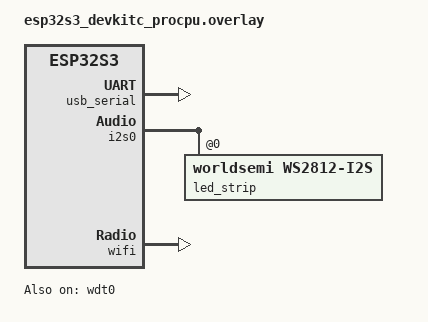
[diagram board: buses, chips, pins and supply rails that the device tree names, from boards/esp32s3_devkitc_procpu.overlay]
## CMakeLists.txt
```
# SPDX-License-Identifier: Apache-2.0

cmake_minimum_required(VERSION 3.20.0)

# Register common/labid module
list(APPEND EXTRA_ZEPHYR_MODULES "${CMAKE_CURRENT_SOURCE_DIR}/../../common/labid")

find_package(Zephyr REQUIRED HINTS $ENV{ZEPHYR_BASE})
project(bootlab_zephyr_app)

target_sources(app PRIVATE
    src/main.c
    src/app_blink_timing.c
    src/labid_port_zephyr.c
    src/app_self_test.c
    src/app_ble_smp.c
    src/app_wifi.c
)

if(EXISTS "${CMAKE_CURRENT_SOURCE_DIR}/../../credentials.env")
  file(STRINGS "${CMAKE_CURRENT_SOURCE_DIR}/../../credentials.env" CRED_LINES)
  foreach(line ${CRED_LINES})
    if(line MATCHES "^WIFI_SSID=\"?([^\"]+)\"?")
      set(ENV_WIFI_SSID "${CMAKE_MATCH_1}")
    elseif(line MATCHES "^WIFI_PSK=\"?([^\"]+)\"?")
      set(ENV_WIFI_PSK "${CMAKE_MATCH_1}")
    endif()
  endforeach()
  if(ENV_WIFI_SSID)
    target_compile_definitions(app PRIVATE
      APP_WIFI_SSID="${ENV_WIFI_SSID}"
      APP_WIFI_PSK="${ENV_WIFI_PSK}"
    )
  endif()
endif()
```

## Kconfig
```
# SPDX-License-Identifier: Apache-2.0

mainmenu "bootlab-esp Zephyr Application"

choice APP_VARIANT
	prompt "Application Variant"
	default APP_VARIANT_V1

config APP_VARIANT_V1
	bool "v1 (Factory, 1 Hz, confirms)"

config APP_VARIANT_V2
	bool "v2 (Upgrade, 4 Hz, confirms)"

config APP_VARIANT_NO_CONFIRM
	bool "no_confirm (1 Hz, never confirms)"

config APP_VARIANT_HANG
	bool "hang (stuck red, watchdog reset)"

config APP_VARIANT_BAD_SIG
	bool "bad_sig (signed with foreign key)"

endchoice

source "Kconfig.zephyr"
```

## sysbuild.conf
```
# SPDX-License-Identifier: Apache-2.0

# Sysbuild configuration for bootlab-esp Zephyr target
SB_CONFIG_BOOTLOADER_MCUBOOT=y
SB_CONFIG_MCUBOOT_MODE_SWAP_USING_MOVE=y

# ECDSA-P256 signature verification in MCUboot (software verification, 0 eFuses burned)
SB_CONFIG_BOOT_SIGNATURE_TYPE_ECDSA_P256=y
SB_CONFIG_BOOT_SIGNATURE_KEY_FILE="/home/msoubhi/bootlab-esp/keys/zephyr_p256.pem"
```

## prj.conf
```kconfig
# SPDX-License-Identifier: Apache-2.0

CONFIG_LOG=y
CONFIG_LOG_DEFAULT_LEVEL=3
CONFIG_BOOTLOADER_MCUBOOT=y

# Flash and Image Manager for MCUboot slot confirmation
CONFIG_FLASH=y
CONFIG_FLASH_MAP=y
CONFIG_STREAM_FLASH=y
CONFIG_IMG_MANAGER=y
CONFIG_MCUBOOT_IMG_MANAGER=y

# Console via USB-Serial/JTAG (Shell disabled)
CONFIG_SERIAL=y
CONFIG_UART_CONSOLE=y
CONFIG_UART_LINE_CTRL=y
CONFIG_UART_INTERRUPT_DRIVEN=y
CONFIG_SHELL=n

# LABID Protocol & Hardware Info
CONFIG_LABID=y
CONFIG_HWINFO=y
CONFIG_HWINFO_ESP32=y
CONFIG_RING_BUFFER=y

# LED Strip driver (WS2812 over I2S)
CONFIG_LED_STRIP=y
CONFIG_WS2812_STRIP_I2S=y

# Watchdog
CONFIG_WATCHDOG=y
CONFIG_WDT_ESP32=y
CONFIG_WDT_LOG_LEVEL_INF=y

# Bluetooth LE & MCUmgr SMP Transport
CONFIG_BT=y
CONFIG_BT_PERIPHERAL=y
CONFIG_BT_DEVICE_NAME="lab-esp-zephyr"

# Bluetooth MTU and Buffers
CONFIG_BT_L2CAP_TX_MTU=498
CONFIG_BT_BUF_ACL_RX_SIZE=502
CONFIG_BT_BUF_ACL_TX_SIZE=502

# MCUmgr core and transport
CONFIG_NET_BUF=y
CONFIG_ZCBOR=y
CONFIG_CRC=y
CONFIG_MCUMGR=y
CONFIG_MCUMGR_TRANSPORT_BT=y
CONFIG_MCUMGR_TRANSPORT_BT_CONN_PARAM_CONTROL=y
CONFIG_MCUMGR_TRANSPORT_BT_REASSEMBLY=y
CONFIG_MCUMGR_TRANSPORT_NETBUF_SIZE=2475
CONFIG_MCUMGR_TRANSPORT_WORKQUEUE_STACK_SIZE=4608

# MCUmgr Groups: OS and Image Management
CONFIG_MCUMGR_GRP_OS=y
CONFIG_MCUMGR_GRP_OS_MCUMGR_PARAMS=y
CONFIG_MCUMGR_GRP_IMG=y

# Stack sizes for Bluetooth and MCUmgr handlers
CONFIG_SYSTEM_WORKQUEUE_STACK_SIZE=4096
CONFIG_MAIN_STACK_SIZE=4096

# Networking & WiFi
CONFIG_NETWORKING=y
CONFIG_NET_L2_ETHERNET=y
CONFIG_NET_L2_WIFI_MGMT=y
CONFIG_WIFI=y
CONFIG_WIFI_ESP32=y
CONFIG_NET_IPV4=y
CONFIG_NET_UDP=y
CONFIG_NET_SOCKETS=y
CONFIG_NET_DHCPV4=y
CONFIG_NET_MGMT=y
CONFIG_NET_MGMT_EVENT=y
CONFIG_NET_CONNECTION_MANAGER=y
CONFIG_WIFI_LOG_LEVEL_INF=y

# Network buffer sizing
CONFIG_NET_PKT_RX_COUNT=16
CONFIG_NET_PKT_TX_COUNT=16
CONFIG_NET_BUF_RX_COUNT=64
CONFIG_NET_BUF_TX_COUNT=64
CONFIG_NET_MAX_CONTEXTS=10

# WiFi heap sizing (use kernel mempool heap)
CONFIG_ESP_WIFI_HEAP_SYSTEM=y

# MCUmgr UDP SMP Transport (port 1337 per BL-035)
CONFIG_MCUMGR_TRANSPORT_UDP=y
CONFIG_MCUMGR_TRANSPORT_UDP_PORT=1337
CONFIG_MCUMGR_TRANSPORT_UDP_IPV4=y
CONFIG_MCUMGR_TRANSPORT_UDP_AUTOMATIC_INIT=y
CONFIG_MCUMGR_TRANSPORT_UDP_STACK_SIZE=4096
```

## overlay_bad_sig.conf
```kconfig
CONFIG_APP_VARIANT_BAD_SIG=y
```

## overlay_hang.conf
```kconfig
CONFIG_APP_VARIANT_HANG=y
```

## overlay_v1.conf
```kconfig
CONFIG_APP_VARIANT_V1=y
```

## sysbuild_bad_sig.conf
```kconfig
SB_CONFIG_BOOT_SIGNATURE_KEY_FILE="/home/msoubhi/bootlab-esp/keys/zephyr_foreign.pem"
```

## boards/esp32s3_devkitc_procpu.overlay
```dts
/* SPDX-License-Identifier: Apache-2.0 */

#include <zephyr/dt-bindings/led/led.h>

/ {
	chosen {
		zephyr,console = &usb_serial;
		zephyr,shell-uart = &usb_serial;
	};

	aliases {
		led-strip = &led_strip;
		watchdog0 = &wdt0;
	};
};

&usb_serial {
	status = "okay";
};

&i2s0_default {
	group1 {
		pinmux = <I2S0_O_SD_GPIO48>;
	};
};

i2s_led: &i2s0 {
	status = "okay";

	dmas = <&dma 3>;
	dma-names = "tx";

	led_strip: ws2812@0 {
		compatible = "worldsemi,ws2812-i2s";

		reg = <0>;
		chain-length = <1>;
		color-mapping = <LED_COLOR_ID_GREEN
				 LED_COLOR_ID_RED
				 LED_COLOR_ID_BLUE>;
		reset-delay = <500>;
	};
};

&dma {
	status = "okay";
};

&wdt0 {
	status = "okay";
};

&wifi {
	status = "okay";
};
```

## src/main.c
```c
/*
 * SPDX-License-Identifier: Apache-2.0
 *
 * main.c — Zephyr blink app + toggles + 5 variants + watchdog (BL-031).
 */

#include <zephyr/kernel.h>
#include <zephyr/sys/printk.h>
#include <zephyr/logging/log.h>
#include <zephyr/dfu/mcuboot.h>
#include <zephyr/drivers/led_strip.h>
#include <zephyr/drivers/watchdog.h>
#include <zephyr/sys/atomic.h>
#include "app_blink_timing.h"
#include "app_self_test.h"
#include "labid_port_zephyr.h"
#include "app_ble_smp.h"
#include "app_wifi.h"

LOG_MODULE_REGISTER(bootlab_app, LOG_LEVEL_INF);

#define STRIP_NODE DT_ALIAS(led_strip)
static const struct device *const strip = DEVICE_DT_GET(STRIP_NODE);

#define WDT_NODE DT_ALIAS(watchdog0)
static const struct device *const wdt = DEVICE_DT_GET(WDT_NODE);
static int wdt_channel_id = -1;

static atomic_t s_toggle_count = ATOMIC_INIT(0);
static struct app_self_test s_self_test;

const char *app_variant_str(void)
{
#if defined(CONFIG_APP_VARIANT_V1)
    return "v1";
#elif defined(CONFIG_APP_VARIANT_V2)
    return "v2";
#elif defined(CONFIG_APP_VARIANT_NO_CONFIRM)
    return "no_confirm";
#elif defined(CONFIG_APP_VARIANT_HANG)
    return "hang";
#elif defined(CONFIG_APP_VARIANT_BAD_SIG)
    return "bad_sig";
#else
    return "v1";
#endif
}

const char *app_get_variant_str(void)
{
    return app_variant_str();
}

app_variant_t app_variant_id(void)
{
#if defined(CONFIG_APP_VARIANT_V1)
    return APP_VARIANT_V1;
#elif defined(CONFIG_APP_VARIANT_V2)
    return APP_VARIANT_V2;
#elif defined(CONFIG_APP_VARIANT_NO_CONFIRM)
    return APP_VARIANT_NO_CONFIRM;
#elif defined(CONFIG_APP_VARIANT_HANG)
    return APP_VARIANT_HANG;
#else
    return APP_VARIANT_BAD_SIG;
#endif
}

uint32_t app_get_toggle_count(void)
{
    return (uint32_t)atomic_get(&s_toggle_count);
}

bool app_is_confirmed(void)
{
    return app_self_test_is_confirmed(&s_self_test);
}

static void set_led(uint8_t r, uint8_t g, uint8_t b)
{
    if (!device_is_ready(strip)) {
        return;
    }
    struct led_rgb pixel = { .r = r, .g = g, .b = b };
    (void)led_strip_update_rgb(strip, &pixel, 1);
}

static void clear_led(void)
{
    set_led(0, 0, 0);
}

static int init_watchdog(void)
{
    if (!device_is_ready(wdt)) {
        LOG_WRN("Watchdog device %s not ready", wdt ? wdt->name : "NULL");
        return -ENODEV;
    }
    struct wdt_timeout_cfg wdt_config = {
        .flags = WDT_FLAG_RESET_SOC,
        .window.min = 0U,
        .window.max = 5000U, /* 5000 ms (< 10s per BL-031 AC3) */
        .callback = NULL,
    };
    wdt_channel_id = wdt_install_timeout(wdt, &wdt_config);
    if (wdt_channel_id < 0) {
        LOG_ERR("Watchdog install error: %d", wdt_channel_id);
        return wdt_channel_id;
    }
    int err = wdt_setup(wdt, 0);
    if (err < 0) {
        LOG_ERR("Watchdog setup error: %d", err);
        return err;
    }
    LOG_INF("Hardware Watchdog armed (timeout: 5000 ms)");
    return 0;
}

static void feed_watchdog(void)
{
    if (wdt_channel_id >= 0 && device_is_ready(wdt)) {
        wdt_feed(wdt, wdt_channel_id);
    }
}

int main(void)
{
    k_msleep(100);

    printk("\n========================================\n");
    printk("  bootlab-esp: Zephyr BL-031 Blink App  \n");
    printk("  Board:   %s\n", CONFIG_BOARD);
    printk("  Variant: %s\n", app_variant_str());
    printk("========================================\n");

    if (device_is_ready(strip)) {
        LOG_INF("WS2812 LED strip ready on GPIO48");
    } else {
        LOG_WRN("WS2812 LED strip not ready");
    }

    bool can_confirm = (app_variant_id() != APP_VARIANT_NO_CONFIRM && app_variant_id() != APP_VARIANT_HANG);
    app_self_test_init(&s_self_test, can_confirm, boot_write_img_confirmed);
    LOG_INF("[APP] Self-test state machine initialized (can_confirm=%d, target_uptime=%u ms, target_toggles=%u)",
            (int)can_confirm, APP_SELF_TEST_MIN_UPTIME_MS, APP_SELF_TEST_MIN_TOGGLES);

    int wdt_rc = init_watchdog();
    if (wdt_rc != 0) {
        LOG_WRN("Proceeding without hardware watchdog (%d)", wdt_rc);
    }

    struct labid_app_info info = {
        .variant = app_variant_str(),
        .version = (app_variant_id() == APP_VARIANT_V2) ? "2.0.0" : "1.0.0",
        .blink_hz = (app_variant_id() == APP_VARIANT_V2) ? "4" : "1",
        .get_toggle_count = app_get_toggle_count,
        .is_confirmed = app_is_confirmed,
    };
    int labid_rc = labid_port_init(&info);
    if (labid_rc != 0) {
        LOG_WRN("Failed to initialize LABID port: %d", labid_rc);
    }

    int ble_rc = app_ble_smp_init();
    if (ble_rc != 0) {
        LOG_WRN("Failed to initialize BLE SMP: %d", ble_rc);
    }

    int wifi_rc = app_wifi_init();
    if (wifi_rc != 0) {
        LOG_WRN("Failed to initialize WiFi: %d", wifi_rc);
    }

#if defined(CONFIG_APP_VARIANT_HANG)
    LOG_WRN("[APP] HANG variant active — showing solid red, blocking to trigger watchdog reset...");
    app_rgb_t stuck = app_blink_color(APP_VARIANT_HANG, 0);
    set_led(stuck.r, stuck.g, stuck.b);
    for (;;) {
        /* Busy wait without feeding watchdog. Watchdog will panic and reset within 5s. */
        k_busy_wait(100000);
    }
#endif

    uint32_t half_period = app_blink_half_period_ms(
#if defined(CONFIG_APP_VARIANT_V2)
        1
#else
        0
#endif
    );

    LOG_INF("Blink loop starting (half-period: %u ms)", half_period);

    bool led_on = false;
    uint32_t log_tick = 0;
    int64_t last_led_hw_update = 0;

    for (;;) {
        led_on = !led_on;

        /* BL-064: rate-limit the actual LED strip hardware update independently of the logical
         * toggle rate. Zephyr's ws2812_i2s driver's DMA buffer pool (2 blocks, not exposed via
         * devicetree) exhausts under sustained call rates, and that exhaustion state was found to
         * also kill the LABID console's UART RX interrupt (see
         * scripts/evidence/bl064_zephyr_labid_rx_irq_dead.md). A 500 ms (~2 Hz) cadence was not
         * enough under real concurrent BLE+WiFi radio load (both active right after an OTA
         * reboot); 1000 ms exactly matches v1's cadence, proven safe under that same load
         * throughout this project's live testing. s_toggle_count/self-test/heartbeat below keep
         * running at the full logical rate, so LABID's measured toggle Hz (STATE? toggles, see
         * labflash.identify.measure()) is unaffected. */
        int64_t now_ms = k_uptime_get();
        if (now_ms - last_led_hw_update >= 1000) {
            last_led_hw_update = now_ms;
            if (led_on) {
                app_rgb_t c = app_blink_color(app_variant_id(), app_is_confirmed());
                set_led(c.r, c.g, c.b);
            } else {
                clear_led();
            }
        }

        atomic_add(&s_toggle_count, 1);
        feed_watchdog();

        bool newly_confirmed = app_self_test_update(&s_self_test, (uint32_t)k_uptime_get(), app_get_toggle_count());
        if (newly_confirmed) {
            static bool s_logged_confirm = false;
            if (!s_logged_confirm) {
                s_logged_confirm = true;
                LOG_INF("[APP] Self-test PASSED: Image successfully confirmed via MCUboot! (uptime=%lld ms, toggles=%u)",
                        k_uptime_get(), app_get_toggle_count());
            }
        } else if (app_self_test_get_status(&s_self_test) == APP_SELF_TEST_FAILED) {
            static bool s_logged_fail = false;
            if (!s_logged_fail) {
                s_logged_fail = true;
                LOG_ERR("[APP] Self-test FAILED: boot_write_img_confirmed returned %d", s_self_test.last_error);
            }
        }

        log_tick++;
        if (log_tick % (1000 / half_period) == 0) {
            LOG_INF("[APP] Heartbeat: variant=%s, toggles=%u, confirmed=%d, uptime=%lld ms, irq=%u, rx=%u",
                    app_variant_str(), app_get_toggle_count(), (int)app_is_confirmed(), k_uptime_get(),
                    g_irq_count, g_rx_bytes);
        }

        k_msleep(half_period);
    }

    return 0;
}
```

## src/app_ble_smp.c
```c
/* SPDX-License-Identifier: Apache-2.0 */

#include <zephyr/kernel.h>
#include <zephyr/logging/log.h>
#include "app_ble_smp.h"

LOG_MODULE_REGISTER(app_ble_smp, LOG_LEVEL_INF);

#if defined(CONFIG_MCUMGR_TRANSPORT_BT)

#include <zephyr/bluetooth/bluetooth.h>
#include <zephyr/bluetooth/conn.h>
#include <zephyr/bluetooth/gatt.h>
#include <zephyr/bluetooth/hci.h>
#include <zephyr/mgmt/mcumgr/transport/smp_bt.h>

static struct k_work advertise_work;

static const struct bt_data ad[] = {
	BT_DATA_BYTES(BT_DATA_FLAGS, (BT_LE_AD_GENERAL | BT_LE_AD_NO_BREDR)),
	BT_DATA_BYTES(BT_DATA_UUID128_ALL, SMP_BT_SVC_UUID_VAL),
};

static const struct bt_data sd[] = {
	BT_DATA(BT_DATA_NAME_COMPLETE, CONFIG_BT_DEVICE_NAME, sizeof(CONFIG_BT_DEVICE_NAME) - 1),
};

static void advertise(struct k_work *work)
{
	ARG_UNUSED(work);
	int rc;

	rc = bt_le_adv_start(BT_LE_ADV_CONN_FAST_1, ad, ARRAY_SIZE(ad), sd, ARRAY_SIZE(sd));
	if (rc) {
		LOG_ERR("BLE Advertising failed to start (rc %d)", rc);
		return;
	}

	LOG_INF("BLE Advertising started: name='%s' (SMP over BLE)", CONFIG_BT_DEVICE_NAME);
}

static void connected(struct bt_conn *conn, uint8_t err)
{
	if (err) {
		LOG_ERR("BLE Connection failed: err 0x%02x (%s)", err, bt_hci_err_to_str(err));
		k_work_submit(&advertise_work);
	} else {
		LOG_INF("BLE Connected");
	}
}

static void disconnected(struct bt_conn *conn, uint8_t reason)
{
	LOG_INF("BLE Disconnected (reason 0x%02x %s)", reason, bt_hci_err_to_str(reason));
}

static void on_conn_recycled(void)
{
	k_work_submit(&advertise_work);
}

BT_CONN_CB_DEFINE(conn_callbacks) = {
	.connected = connected,
	.disconnected = disconnected,
	.recycled = on_conn_recycled,
};

static void bt_ready(int err)
{
	if (err != 0) {
		LOG_ERR("Bluetooth failed to initialize: %d", err);
	} else {
		LOG_INF("Bluetooth initialized, starting SMP advertising");
		k_work_submit(&advertise_work);
	}
}

int app_ble_smp_init(void)
{
	int rc;

	k_work_init(&advertise_work, advertise);
	rc = bt_enable(bt_ready);
	if (rc != 0) {
		LOG_ERR("Bluetooth enable failed: %d", rc);
		return rc;
	}
	return 0;
}

#else

int app_ble_smp_init(void)
{
	return 0;
}

#endif /* CONFIG_MCUMGR_TRANSPORT_BT */
```

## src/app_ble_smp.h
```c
/* SPDX-License-Identifier: Apache-2.0 */
#ifndef APP_BLE_SMP_H_
#define APP_BLE_SMP_H_

#ifdef __cplusplus
extern "C" {
#endif

int app_ble_smp_init(void);

#ifdef __cplusplus
}
#endif

#endif /* APP_BLE_SMP_H_ */
```

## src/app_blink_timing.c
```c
/*
 * SPDX-License-Identifier: Apache-2.0
 *
 * app_blink_timing.c — Pure functions for blink rate math and LED color mapping.
 */

#include "app_blink_timing.h"

uint32_t app_blink_half_period_ms(int is_4hz_variant)
{
    unsigned int hz = is_4hz_variant ? 4u : 1u;
    return 1000u / hz / 2u;
}

app_rgb_t app_blink_color(app_variant_t variant, int confirmed)
{
    const app_rgb_t amber = APP_COLOR_AMBER;
    const app_rgb_t green = APP_COLOR_GREEN;
    const app_rgb_t blue = APP_COLOR_BLUE;
    const app_rgb_t red = APP_COLOR_RED;
    const app_rgb_t magenta = APP_COLOR_MAGENTA;

    switch (variant) {
    case APP_VARIANT_HANG:
        return red;
    case APP_VARIANT_BAD_SIG:
        return magenta;
    case APP_VARIANT_NO_CONFIRM:
        return amber;
    case APP_VARIANT_V2:
        return confirmed ? blue : amber;
    case APP_VARIANT_V1:
    default:
        return confirmed ? green : amber;
    }
}
```

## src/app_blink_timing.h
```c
/*
 * SPDX-License-Identifier: Apache-2.0
 *
 * app_blink_timing.h — Blink rate math and LED color mapping for Zephyr app.
 */

#ifndef APP_BLINK_TIMING_H
#define APP_BLINK_TIMING_H

#include <stdint.h>
#include <stdbool.h>

#define APP_LED_LEVEL 16u

typedef struct {
    uint8_t r, g, b;
} app_rgb_t;

typedef enum {
    APP_VARIANT_V1,
    APP_VARIANT_V2,
    APP_VARIANT_NO_CONFIRM,
    APP_VARIANT_HANG,
    APP_VARIANT_BAD_SIG,
} app_variant_t;

#define APP_COLOR_AMBER   { APP_LED_LEVEL, 6u, 0u }   /* amber: unconfirmed / pending self-test */
#define APP_COLOR_GREEN   { 0u, APP_LED_LEVEL, 0u }   /* green: v1 confirmed */
#define APP_COLOR_BLUE    { 0u, 0u, APP_LED_LEVEL }   /* blue: v2 confirmed */
#define APP_COLOR_RED     { APP_LED_LEVEL, 0u, 0u }   /* red: hang */
#define APP_COLOR_MAGENTA { APP_LED_LEVEL, 0u, APP_LED_LEVEL } /* magenta: bad_sig */

uint32_t app_blink_half_period_ms(int is_4hz_variant);
app_rgb_t app_blink_color(app_variant_t variant, int confirmed);

#endif /* APP_BLINK_TIMING_H */
```

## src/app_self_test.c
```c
/*
 * SPDX-License-Identifier: Apache-2.0
 *
 * app_self_test.c — Zephyr self-test and MCUboot confirmation state machine (BL-033).
 */

#include "app_self_test.h"

void app_self_test_init(struct app_self_test *st, bool can_confirm, app_confirm_fn_t confirm_fn)
{
    if (!st) {
        return;
    }
    st->can_confirm = can_confirm;
    st->status = can_confirm ? APP_SELF_TEST_PENDING : APP_SELF_TEST_DISABLED;
    st->min_uptime_ms = APP_SELF_TEST_MIN_UPTIME_MS;
    st->min_toggles = APP_SELF_TEST_MIN_TOGGLES;
    st->confirm_fn = confirm_fn;
    st->last_error = 0;
}

bool app_self_test_update(struct app_self_test *st, uint32_t uptime_ms, uint32_t toggles)
{
    if (!st) {
        return false;
    }
    if (st->status == APP_SELF_TEST_CONFIRMED) {
        return true;
    }
    if (!st->can_confirm || st->status == APP_SELF_TEST_DISABLED) {
        return false;
    }

    /* Self-test criteria per PLAN §5.2:
     * 1. RTOS ticking for >= 5 s (5000 ms)
     * 2. LED toggled >= 5 times */
    if (uptime_ms >= st->min_uptime_ms && toggles >= st->min_toggles) {
        if (st->confirm_fn) {
            int ret = st->confirm_fn();
            if (ret == 0) {
                st->status = APP_SELF_TEST_CONFIRMED;
                st->last_error = 0;
                return true;
            } else {
                st->status = APP_SELF_TEST_FAILED;
                st->last_error = ret;
                return false;
            }
        } else {
            /* If no confirm function provided, consider passed */
            st->status = APP_SELF_TEST_CONFIRMED;
            return true;
        }
    }

    return false;
}

bool app_self_test_is_confirmed(const struct app_self_test *st)
{
    if (!st) {
        return false;
    }
    return (st->status == APP_SELF_TEST_CONFIRMED);
}

enum app_self_test_status app_self_test_get_status(const struct app_self_test *st)
{
    if (!st) {
        return APP_SELF_TEST_DISABLED;
    }
    return st->status;
}
```

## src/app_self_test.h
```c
/*
 * SPDX-License-Identifier: Apache-2.0
 *
 * app_self_test.h — Zephyr self-test and MCUboot confirmation state machine (BL-033).
 */

#ifndef APP_SELF_TEST_H_
#define APP_SELF_TEST_H_

#include <stdint.h>
#include <stdbool.h>

#define APP_SELF_TEST_MIN_UPTIME_MS  5000U
#define APP_SELF_TEST_MIN_TOGGLES    5U

typedef int (*app_confirm_fn_t)(void);

enum app_self_test_status {
    APP_SELF_TEST_PENDING = 0,
    APP_SELF_TEST_CONFIRMED = 1,
    APP_SELF_TEST_DISABLED = 2,  /* no_confirm / hang */
    APP_SELF_TEST_FAILED = 3,    /* confirm_fn returned error */
};

struct app_self_test {
    bool can_confirm;
    enum app_self_test_status status;
    uint32_t min_uptime_ms;
    uint32_t min_toggles;
    app_confirm_fn_t confirm_fn;
    int last_error;
};

void app_self_test_init(struct app_self_test *st, bool can_confirm, app_confirm_fn_t confirm_fn);
bool app_self_test_update(struct app_self_test *st, uint32_t uptime_ms, uint32_t toggles);
bool app_self_test_is_confirmed(const struct app_self_test *st);
enum app_self_test_status app_self_test_get_status(const struct app_self_test *st);

#endif /* APP_SELF_TEST_H_ */
```

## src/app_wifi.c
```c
/*
 * SPDX-License-Identifier: Apache-2.0
 *
 * app_wifi.c — Zephyr WiFi STA management + DHCPv4 (BL-035).
 */

#include "app_wifi.h"

#include <zephyr/kernel.h>
#include <zephyr/logging/log.h>
#include <zephyr/net/net_if.h>
#include <zephyr/net/net_core.h>
#include <zephyr/net/net_context.h>
#include <zephyr/net/net_mgmt.h>
#include <zephyr/net/wifi_mgmt.h>
#include <zephyr/net/dhcpv4.h>
#include <string.h>

LOG_MODULE_REGISTER(app_wifi, LOG_LEVEL_INF);

#ifndef APP_WIFI_SSID
#define APP_WIFI_SSID "DIGIFIBRA-ubEU"
#endif

#ifndef APP_WIFI_PSK
#define APP_WIFI_PSK ""
#endif

#define WIFI_SHELL_MODULE "wifi"
#define WIFI_CONNECT_TIMEOUT_S 15

static K_SEM_DEFINE(s_wifi_connected_sem, 0, 1);
static K_SEM_DEFINE(s_ipv4_assigned_sem, 0, 1);

static struct net_mgmt_event_callback s_wifi_cb;
static struct net_mgmt_event_callback s_ipv4_cb;

static bool s_connected = false;
static char s_ip_str[INET_ADDRSTRLEN] = "0.0.0.0";

static void handle_wifi_connect_result(struct net_mgmt_event_callback *cb, struct net_if *iface)
{
	const struct wifi_status *status = (const struct wifi_status *)cb->info;

	if (status && status->status) {
		LOG_WRN("WiFi connection failed (status: %d)", status->status);
		s_connected = false;
	} else {
		LOG_INF("WiFi STA connected to AP successfully! Requesting DHCPv4...");
		s_connected = true;
		if (iface) {
			net_dhcpv4_start(iface);
		}
		k_sem_give(&s_wifi_connected_sem);
	}
}

static void handle_wifi_disconnect_result(struct net_mgmt_event_callback *cb)
{
	LOG_WRN("WiFi disconnected from AP");
	s_connected = false;
	strncpy(s_ip_str, "0.0.0.0", sizeof(s_ip_str) - 1);
	s_ip_str[sizeof(s_ip_str) - 1] = '\0';
}

static void handle_ipv4_addr_add(struct net_if *iface)
{
	if (!iface || !iface->config.ip.ipv4) {
		return;
	}

	for (int i = 0; i < NET_IF_MAX_IPV4_ADDR; i++) {
		struct net_if_addr_ipv4 *uni = &iface->config.ip.ipv4->unicast[i];

		if (uni->ipv4.addr_type != NET_ADDR_DHCP &&
		    uni->ipv4.addr_type != NET_ADDR_AUTOCONF &&
		    uni->ipv4.addr_type != NET_ADDR_MANUAL) {
			continue;
		}

		if (net_addr_ntop(NET_AF_INET, &uni->ipv4.address.in_addr, s_ip_str, sizeof(s_ip_str)) != NULL) {
			LOG_INF("========================================");
			LOG_INF("  WiFi IP assigned: %s", s_ip_str);
			LOG_INF("  MCUmgr UDP port: 1337 ready");
			LOG_INF("========================================");
			k_sem_give(&s_ipv4_assigned_sem);
			return;
		}
	}
}

static void wifi_mgmt_event_handler(struct net_mgmt_event_callback *cb,
				    uint64_t mgmt_event, struct net_if *iface)
{
	switch (mgmt_event) {
	case NET_EVENT_WIFI_CONNECT_RESULT:
		handle_wifi_connect_result(cb, iface);
		break;
	case NET_EVENT_WIFI_DISCONNECT_RESULT:
		handle_wifi_disconnect_result(cb);
		break;
	case NET_EVENT_IPV4_ADDR_ADD:
		handle_ipv4_addr_add(iface);
		break;
	default:
		break;
	}
}

static void wifi_connect_task(void *p1, void *p2, void *p3)
{
	ARG_UNUSED(p1);
	ARG_UNUSED(p2);
	ARG_UNUSED(p3);

	/* Allow WiFi hardware subsystem to complete initialization */
	k_sleep(K_MSEC(1500));

	struct net_if *iface = net_if_get_default();
	if (!iface) {
		LOG_ERR("No default network interface found!");
		return;
	}

	char ssid_buf[33] = APP_WIFI_SSID;
	char psk_buf[65] = APP_WIFI_PSK;

	struct wifi_connect_req_params cnx_params = {
		.ssid = ssid_buf,
		.ssid_length = strlen(ssid_buf),
		.psk = psk_buf,
		.psk_length = strlen(psk_buf),
		.channel = WIFI_CHANNEL_ANY,
		.security = strlen(psk_buf) > 0 ? WIFI_SECURITY_TYPE_PSK : WIFI_SECURITY_TYPE_NONE,
		.band = WIFI_FREQ_BAND_2_4_GHZ,
		.mfp = WIFI_MFP_OPTIONAL,
	};

	LOG_INF("Connecting to WiFi SSID: %s (security: %d)...",
		cnx_params.ssid, cnx_params.security);

	int retry_count = 0;
	while (!s_connected) {
		retry_count++;
		int ret = net_mgmt(NET_REQUEST_WIFI_CONNECT, iface, &cnx_params, sizeof(cnx_params));
		if (ret != 0) {
			LOG_WRN("net_mgmt connect request returned %d (attempt %d)", ret, retry_count);
		} else {
			if (k_sem_take(&s_wifi_connected_sem, K_SECONDS(WIFI_CONNECT_TIMEOUT_S)) == 0) {
				LOG_INF("WiFi connection confirmed!");
				break;
			}
			LOG_WRN("WiFi connect timeout, retrying...");
		}
		k_sleep(K_SECONDS(3));
	}

	/* Sanitize stack buffers holding credentials (PLAN R7 / BL-024) */
	memset(psk_buf, 0, sizeof(psk_buf));
	memset(&cnx_params, 0, sizeof(cnx_params));

	/* Wait up to 10 seconds for DHCPv4 lease */
	if (k_sem_take(&s_ipv4_assigned_sem, K_SECONDS(10)) != 0) {
		LOG_WRN("DHCPv4 address assignment timed out; check router DHCP status");
	}
}

K_THREAD_DEFINE(wifi_thread_id, 4096, wifi_connect_task, NULL, NULL, NULL, 7, 0, 0);

int app_wifi_init(void)
{
	net_mgmt_init_event_callback(&s_wifi_cb, wifi_mgmt_event_handler,
				     NET_EVENT_WIFI_CONNECT_RESULT | NET_EVENT_WIFI_DISCONNECT_RESULT);
	net_mgmt_add_event_callback(&s_wifi_cb);

	net_mgmt_init_event_callback(&s_ipv4_cb, wifi_mgmt_event_handler,
				     NET_EVENT_IPV4_ADDR_ADD);
	net_mgmt_add_event_callback(&s_ipv4_cb);

	LOG_INF("WiFi STA management initialized");
	return 0;
}

bool app_wifi_is_connected(void)
{
	return s_connected && (strcmp(s_ip_str, "0.0.0.0") != 0);
}

const char *app_wifi_get_ip_str(void)
{
	return s_ip_str;
}
```

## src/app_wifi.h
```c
/*
 * SPDX-License-Identifier: Apache-2.0
 *
 * app_wifi.h — Zephyr WiFi STA management + DHCPv4 (BL-035).
 */

#ifndef APP_WIFI_H_
#define APP_WIFI_H_

#include <stdbool.h>

/**
 * @brief Initialize WiFi STA mode and start connection to configured AP.
 *
 * Registers network management event handlers for WiFi connection status
 * and DHCPv4 IPv4 address assignment.
 *
 * @return 0 on success, negative errno on failure.
 */
int app_wifi_init(void);

/**
 * @brief Check if WiFi is currently connected and has an assigned IPv4 address.
 *
 * @return true if connected with valid IP, false otherwise.
 */
bool app_wifi_is_connected(void);

/**
 * @brief Get the assigned IPv4 address as a string.
 *
 * @return IPv4 string (e.g. "192.168.1.152"), or "0.0.0.0" if not acquired.
 */
const char *app_wifi_get_ip_str(void);

#endif /* APP_WIFI_H_ */
```

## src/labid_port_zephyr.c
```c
/*
 * SPDX-License-Identifier: Apache-2.0
 *
 * labid_port_zephyr.c — Zephyr glue for LABID (BL-032). Spec: PLAN §7.3.
 */

#include "labid_port_zephyr.h"

#include <zephyr/kernel.h>
#include <zephyr/device.h>
#include <zephyr/drivers/uart.h>
#include <zephyr/drivers/hwinfo.h>
#include <zephyr/sys/printk.h>
#include <zephyr/sys/ring_buffer.h>
#include <zephyr/logging/log.h>
#include <zephyr/version.h>
#include <stdio.h>
#include <string.h>

#include "labid_dispatch.h"

LOG_MODULE_REGISTER(labid_port, LOG_LEVEL_INF);

#define LABID_THREAD_STACK_SIZE 4096
#define LABID_THREAD_PRIO       K_LOWEST_APPLICATION_THREAD_PRIO
#define LABID_ANNOUNCE_DELAY_MS 1500  /* <= 2 s per PLAN §7.3.2 */
#define LABID_MAC_BYTES         6
#define LABID_RING_BUF_SIZE     512

volatile uint32_t g_irq_count = 0;
volatile uint32_t g_rx_bytes = 0;

static struct labid_ctx s_ctx;
static struct labid_app_info s_app;
static const struct device *s_uart_dev;

RING_BUF_DECLARE(s_rx_ring, LABID_RING_BUF_SIZE);
K_SEM_DEFINE(s_rx_sem, 0, 1);
K_MUTEX_DEFINE(s_tx_mutex);

K_THREAD_STACK_DEFINE(s_labid_stack, LABID_THREAD_STACK_SIZE);
static struct k_thread s_labid_thread_data;

/* Helper: copy src into LABID-legal value: [A-Za-z0-9._:-], others -> '_' */
static int add_clean(struct labid_fields *f, const char *key, const char *src)
{
    char tmp[LABID_VAL_MAX];
    size_t n = 0;
    for (; src && src[n] != '\0' && n < sizeof(tmp) - 1u; n++) {
        char c = src[n];
        int ok = (c >= 'a' && c <= 'z') || (c >= 'A' && c <= 'Z') || (c >= '0' && c <= '9')
              || c == '.' || c == '_' || c == ':' || c == '-';
        tmp[n] = ok ? c : '_';
    }
    tmp[n] = '\0';
    return labid_fields_add(f, key, n ? tmp : "unknown");
}

static int add_uid(struct labid_fields *f)
{
    static const char digits[] = "0123456789ABCDEF";
    uint8_t mac[LABID_MAC_BYTES] = {0};
    ssize_t ret = hwinfo_get_device_id(mac, sizeof(mac));
    if (ret <= 0) {
        return -1;
    }
    char hex[2 * LABID_MAC_BYTES + 1];
    for (size_t i = 0; i < LABID_MAC_BYTES; i++) {
        hex[2 * i]     = digits[mac[i] >> 4];
        hex[2 * i + 1] = digits[mac[i] & 0x0F];
    }
    hex[2 * LABID_MAC_BYTES] = '\0';
    return labid_fields_add(f, "uid", hex);
}

static void build_stamp(char *out, size_t outlen)
{
    static const char months[] = "JanFebMarAprMayJunJulAugSepOctNovDec";
    const char *date_str = __DATE__;
    const char *time_str = __TIME__;
    char mon3[4] = { date_str[0], date_str[1], date_str[2], '\0' };
    const char *m = strstr(months, mon3);
    int day = 0, year = 0, hh = 0, mm = 0;
    if (!m || sscanf(date_str + 3, "%d %d", &day, &year) != 2 ||
        sscanf(time_str, "%d:%d", &hh, &mm) != 2) {
        snprintf(out, outlen, "unknown");
        return;
    }
    snprintf(out, outlen, "%04d%02d%02dT%02d%02dZ", year, (int)((m - months) / 3) + 1, day, hh, mm);
}

static const char *get_reset_name(void)
{
    uint32_t cause = 0;
    int ret = hwinfo_get_reset_cause(&cause);
    if (ret != 0) {
        return "other";
    }
    if (cause & RESET_POR) {
        return "por";
    }
    if (cause & RESET_PIN) {
        return "pin";
    }
    if (cause & RESET_SOFTWARE) {
        return "sw";
    }
    if (cause & RESET_WATCHDOG) {
        return "wdt";
    }
    if (cause & RESET_BROWNOUT) {
        return "brownout";
    }
    if (cause & RESET_CPU_LOCKUP) {
        return "panic";
    }
    return "other";
}

/* ---------- Provider Callbacks ---------- */

static int prov_announce(void *user, struct labid_fields *f)
{
    ARG_UNUSED(user);
    return labid_fields_add(f, "board", "zephyr") | add_uid(f)
         | add_clean(f, "app", s_app.version ? s_app.version : "1.0.0");
}

static int prov_id(void *user, struct labid_fields *f)
{
    ARG_UNUSED(user);
    char os[LABID_VAL_MAX];
    snprintf(os, sizeof(os), "zephyr-%s", KERNEL_VERSION_STRING);
    return labid_fields_add(f, "board", "zephyr")
         | labid_fields_add(f, "hw", "esp32s3_devkitc")
         | labid_fields_add(f, "mcu", "esp32s3")
         | add_uid(f)
         | add_clean(f, "os", os)
         | labid_fields_add_u32(f, "flash_kb", 16384);
}

static int prov_ver(void *user, struct labid_fields *f)
{
    ARG_UNUSED(user);
    char build[LABID_VAL_MAX];
    build_stamp(build, sizeof(build));

    return add_clean(f, "bl", "mcuboot")
         | add_clean(f, "app", s_app.version ? s_app.version : "1.0.0")
         | add_clean(f, "git", "db7cfc2")
         | add_clean(f, "build", build)
         | add_clean(f, "variant", s_app.variant ? s_app.variant : "v1")
         | labid_fields_add(f, "slot", "0")
         | labid_fields_add(f, "confirmed", (s_app.is_confirmed && s_app.is_confirmed()) ? "1" : "0");
}

static int prov_state(void *user, struct labid_fields *f)
{
    ARG_UNUSED(user);
    return labid_fields_add_u32(f, "uptime_ms", (uint32_t)k_uptime_get())
         | labid_fields_add(f, "reset", get_reset_name())
         | labid_fields_add(f, "blink_hz", s_app.blink_hz ? s_app.blink_hz : "1")
         | labid_fields_add_u32(f, "toggles", s_app.get_toggle_count ? s_app.get_toggle_count() : 0u);
}

static const struct labid_provider s_prov = {
    .user = NULL,
    .announce = prov_announce,
    .id = prov_id,
    .ver = prov_ver,
    .state = prov_state,
};

/* ---------- Transport & Thread ---------- */

static void send_frame(const char *frame)
{
    k_mutex_lock(&s_tx_mutex, K_FOREVER);
    if (s_uart_dev) {
        size_t len = strlen(frame);
        size_t sent = 0;
        int retries = 0;
        while (sent < len && retries++ < 5000) {
            int ret = uart_fifo_fill(s_uart_dev, (const uint8_t *)frame + sent, (int)(len - sent));
            if (ret > 0) {
                sent += (size_t)ret;
            } else {
                k_busy_wait(50);
            }
        }
    } else {
        printk("%s", frame);
    }
    k_mutex_unlock(&s_tx_mutex);
}

static void uart_irq_cb(const struct device *dev, void *user_data)
{
    ARG_UNUSED(user_data);
    g_irq_count++;
    uart_irq_update(dev);
    while (uart_irq_rx_ready(dev)) {
        uint8_t byte;
        int ret = uart_fifo_read(dev, &byte, 1);
        if (ret > 0) {
            g_rx_bytes++;
            ring_buf_put(&s_rx_ring, &byte, 1);
            k_sem_give(&s_rx_sem);
        } else {
            break;
        }
    }
}

static void labid_thread_entry(void *p1, void *p2, void *p3)
{
    ARG_UNUSED(p1);
    ARG_UNUSED(p2);
    ARG_UNUSED(p3);

    char out[LABID_MAX_FRAME + 8];
    int64_t announce_at = k_uptime_get() + LABID_ANNOUNCE_DELAY_MS;
    bool announced = false;

    for (;;) {
        /* Wait up to 20ms for an RX interrupt or poll timeout */
        k_sem_take(&s_rx_sem, K_MSEC(20));

        /* BL-064: Check and drain hardware FIFO under irq_lock().
         * On ESP32-S3 USB-Serial-JTAG, SERIAL_OUT_RECV_PKT is edge-triggered.
         * If bytes arrived before interrupts were enabled (e.g. during an MCUboot swap)
         * or if an interrupt edge was missed, polling the FIFO ensures bytes are never
         * trapped, keeping the hardware USB endpoint responsive to subsequent OUT packets. */
        if (s_uart_dev) {
            unsigned int key = irq_lock();
            while (uart_irq_rx_ready(s_uart_dev)) {
                uint8_t byte;
                int ret = uart_fifo_read(s_uart_dev, &byte, 1);
                if (ret > 0) {
                    g_rx_bytes++;
                    ring_buf_put(&s_rx_ring, &byte, 1);
                } else {
                    break;
                }
            }
            irq_unlock(key);
        }

        uint8_t byte;
        while (ring_buf_get(&s_rx_ring, &byte, 1) > 0) {
            int len = labid_ctx_feed(&s_ctx, byte, out, sizeof(out));
            if (len > 0) {
                send_frame(out);
            }
        }

        /* Send ANNOUNCE after initial delay window has elapsed (PLAN §7.3.2) */
        if (!announced && k_uptime_get() >= announce_at) {
            int alen = labid_announce(&s_ctx, out, sizeof(out));
            if (alen > 0) {
                send_frame(out);
            }
            announced = true;
        }
    }
}

int labid_port_init(const struct labid_app_info *app)
{
    if (!app) {
        return -EINVAL;
    }
    s_app = *app;
    labid_ctx_init(&s_ctx, &s_prov);

    const struct device *const uart_dev = DEVICE_DT_GET(DT_CHOSEN(zephyr_console));
    if (!device_is_ready(uart_dev)) {
        LOG_ERR("Console device %s is not ready", uart_dev->name);
        return -ENODEV;
    }
    s_uart_dev = uart_dev;

    /* BL-064: Flush any stale pre-boot data in the hardware FIFO (e.g. from MCUboot swap) */
    while (uart_irq_rx_ready(uart_dev)) {
        uint8_t dummy;
        if (uart_fifo_read(uart_dev, &dummy, 1) <= 0) {
            break;
        }
    }

    uart_irq_callback_user_data_set(uart_dev, uart_irq_cb, NULL);
    uart_irq_rx_enable(uart_dev);

    /* Drain again right after interrupt enable in case new bytes arrived during init */
    while (uart_irq_rx_ready(uart_dev)) {
        uint8_t dummy;
        if (uart_fifo_read(uart_dev, &dummy, 1) <= 0) {
            break;
        }
    }

    k_thread_create(&s_labid_thread_data, s_labid_stack,
                    K_THREAD_STACK_SIZEOF(s_labid_stack),
                    labid_thread_entry, NULL, NULL, NULL,
                    LABID_THREAD_PRIO, 0, K_NO_WAIT);
    k_thread_name_set(&s_labid_thread_data, "labid");

    LOG_INF("LABID initialized on console (irq+polled RX, ANNOUNCE in %d ms)", LABID_ANNOUNCE_DELAY_MS);
    return 0;
}
```

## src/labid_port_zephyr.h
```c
/*
 * SPDX-License-Identifier: Apache-2.0
 *
 * labid_port_zephyr.h — Zephyr LABID console port header (BL-032).
 */

#ifndef LABID_PORT_ZEPHYR_H
#define LABID_PORT_ZEPHYR_H

#include <stdint.h>
#include <stdbool.h>

struct labid_app_info {
    const char *variant;
    const char *version;
    const char *blink_hz;
    uint32_t (*get_toggle_count)(void);
    bool (*is_confirmed)(void);
};

extern volatile uint32_t g_irq_count;
extern volatile uint32_t g_rx_bytes;

int labid_port_init(const struct labid_app_info *app);

#endif /* LABID_PORT_ZEPHYR_H */
```
